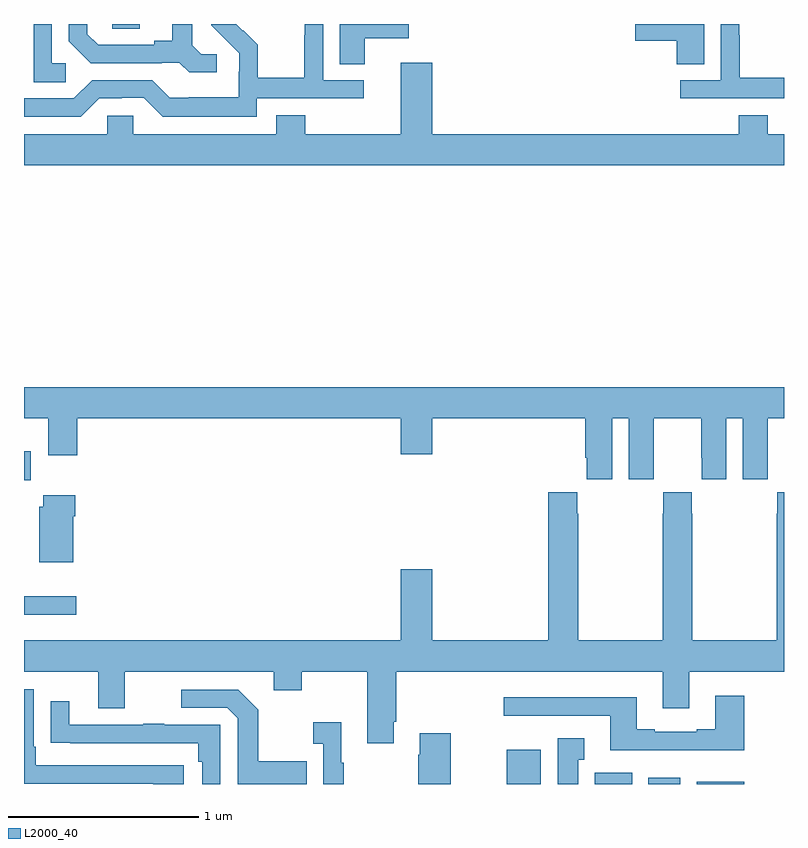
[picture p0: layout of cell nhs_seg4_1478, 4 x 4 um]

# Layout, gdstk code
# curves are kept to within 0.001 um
import gdstk
lib = gdstk.Library(unit=1e-6, precision=1e-09)
def R(c, l, rs):  # rectangles x0, y0, x1, y1
    for r in rs: c.add(gdstk.rectangle(r[:2], r[2:], *l))
def P(c, l, *ps):  # polygons
    for p in ps: c.add(gdstk.Polygon(p, *l))
L2000_40 = (2000, 40)

nhs_seg4_1478 = lib.new_cell('nhs_seg4_1478')
R(nhs_seg4_1478, L2000_40, [(189.542,790.9,189.721,791.08), (190.004,790.9,190.201,790.96), (190.286,790.9,190.453,790.933), (190.541,790.9,190.792,790.912), (187,791.792,187.276,791.889), (187,792.498,187.036,792.652), (187.464,794.875,187.609,794.9)])
P(nhs_seg4_1478, L2000_40, [(188.014,794.742),(187.932,794.742),(187.885,794.789),(187.885,794.9),(187.781,794.9),(187.781,794.813),(187.685,794.813),(187.685,794.79),(187.39,794.79),(187.333,794.847),(187.333,794.9),(187.236,794.9),(187.236,794.81),(187.352,794.694),(187.724,794.694),(187.724,794.697),(187.818,794.697),(187.87,794.645),(188.014,794.645)],
  [(187.219,794.694),(187.146,794.694),(187.146,794.9),(187.05,794.9),(187.05,794.593),(187.219,794.593)],
  [(191,794.617),(190.767,794.617),(190.767,794.84),(190.764,794.84),(190.764,794.9),(190.668,794.9),(190.668,794.604),(190.455,794.604),(190.455,794.508),(191,794.508)],
  [(190.579,794.9),(190.218,794.9),(190.218,794.813),(190.436,794.813),(190.436,794.689),(190.579,794.689)],
  [(188.226,794.508),(188.788,794.508),(188.788,794.604),(188.574,794.604),(188.574,794.9),(188.478,794.9),(188.478,794.84),(188.476,794.84),(188.476,794.617),(188.231,794.617),(188.231,794.791),(188.154,794.868),(188.151,794.865),(188.116,794.9),(187.986,794.9),(187.986,794.894),(188.132,794.746),(188.132,794.649),(188.13,794.649),(188.13,794.515),(187.867,794.515),(187.867,794.511),(187.767,794.511),(187.674,794.604),(187.359,794.604),(187.263,794.508),(187,794.508),(187,794.412),(187.299,794.412),(187.395,794.508),(187.514,794.508),(187.514,794.511),(187.629,794.511),(187.729,794.411),(188.226,794.411)],
  [(188.794,794.825),(189.025,794.825),(189.025,794.9),(188.663,794.9),(188.663,794.689),(188.794,794.689)],
  [(191,794.32),(190.915,794.32),(190.915,794.419),(190.763,794.419),(190.763,794.32),(189.148,794.32),(189.148,794.695),(188.984,794.695),(188.984,794.32),(188.48,794.32),(188.48,794.419),(188.327,794.419),(188.327,794.32),(187.575,794.32),(187.575,794.418),(187.437,794.418),(187.437,794.32),(187,794.32),(187,794.156),(191,794.156)],
  [(190.096,792.824),(190.184,792.824),(190.184,792.504),(190.314,792.504),(190.314,792.616),(190.315,792.616),(190.315,792.824),(190.565,792.824),(190.565,792.616),(190.566,792.616),(190.566,792.504),(190.696,792.504),(190.696,792.824),(190.784,792.824),(190.784,792.504),(190.914,792.504),(190.914,792.616),(190.915,792.616),(190.915,792.824),(191,792.824),(191,792.988),(187,792.988),(187,792.824),(187.127,792.824),(187.127,792.63),(187.28,792.63),(187.28,792.824),(188.984,792.824),(188.984,792.636),(189.148,792.636),(189.148,792.824),(189.953,792.824),(189.953,792.616),(189.962,792.616),(189.962,792.504),(190.096,792.504)],
  [(188.947,791.227),(188.96,791.227),(188.96,791.492),(190.361,791.492),(190.361,791.298),(190.501,791.298),(190.501,791.492),(191,791.492),(191,792.436),(190.965,792.436),(190.965,792.323),(190.963,792.323),(190.963,791.656),(190.518,791.656),(190.518,792.323),(190.515,792.323),(190.515,792.436),(190.365,792.436),(190.365,792.323),(190.363,792.323),(190.363,791.656),(189.918,791.656),(189.918,792.323),(189.911,792.323),(189.911,792.436),(189.758,792.436),(189.758,791.656),(189.148,791.656),(189.148,792.031),(188.984,792.031),(188.984,791.656),(187,791.656),(187,791.492),(187.391,791.492),(187.391,791.298),(187.531,791.298),(187.531,791.492),(188.315,791.492),(188.315,791.393),(188.463,791.393),(188.463,791.492),(188.807,791.492),(188.807,791.115),(188.947,791.115)],
  [(187.258,792.308),(187.271,792.308),(187.271,792.421),(187.1,792.421),(187.1,792.36),(187.079,792.36),(187.079,792.068),(187.258,792.068)],
  [(187.84,790.998),(187.063,790.998),(187.063,791.095),(187.05,791.095),(187.05,791.4),(187,791.4),(187,790.902),(187.679,790.902),(187.679,790.9),(187.84,790.9)],
  [(188.489,791.019),(188.233,791.019),(188.233,791.291),(188.127,791.397),(187.827,791.397),(187.827,791.301),(188.07,791.301),(188.124,791.247),(188.124,790.9),(188.489,790.9)],
  [(190.79,791.365),(190.637,791.365),(190.637,791.188),(190.541,791.188),(190.541,791.175),(190.321,791.175),(190.321,791.188),(190.225,791.188),(190.225,791.356),(189.525,791.356),(189.525,791.259),(190.085,791.259),(190.085,791.078),(190.79,791.078)],
  [(188.034,791.211),(187.739,791.211),(187.739,791.216),(187.627,791.216),(187.627,791.211),(187.237,791.211),(187.237,791.335),(187.141,791.335),(187.141,791.116),(187.243,791.116),(187.243,791.115),(187.918,791.115),(187.918,791.018),(187.938,791.018),(187.938,790.9),(188.034,790.9)],
  [(188.683,791.011),(188.671,791.011),(188.671,791.224),(188.523,791.224),(188.523,791.111),(188.574,791.111),(188.574,790.9),(188.683,790.9)],
  [(189.246,791.167),(189.083,791.167),(189.083,791.054),(189.076,791.054),(189.076,790.9),(189.246,790.9)],
  [(189.916,791.027),(189.949,791.027),(189.949,791.14),(189.809,791.14),(189.809,790.9),(189.916,790.9)])

lib.write_gds('nhs_seg4_1478.gds')
